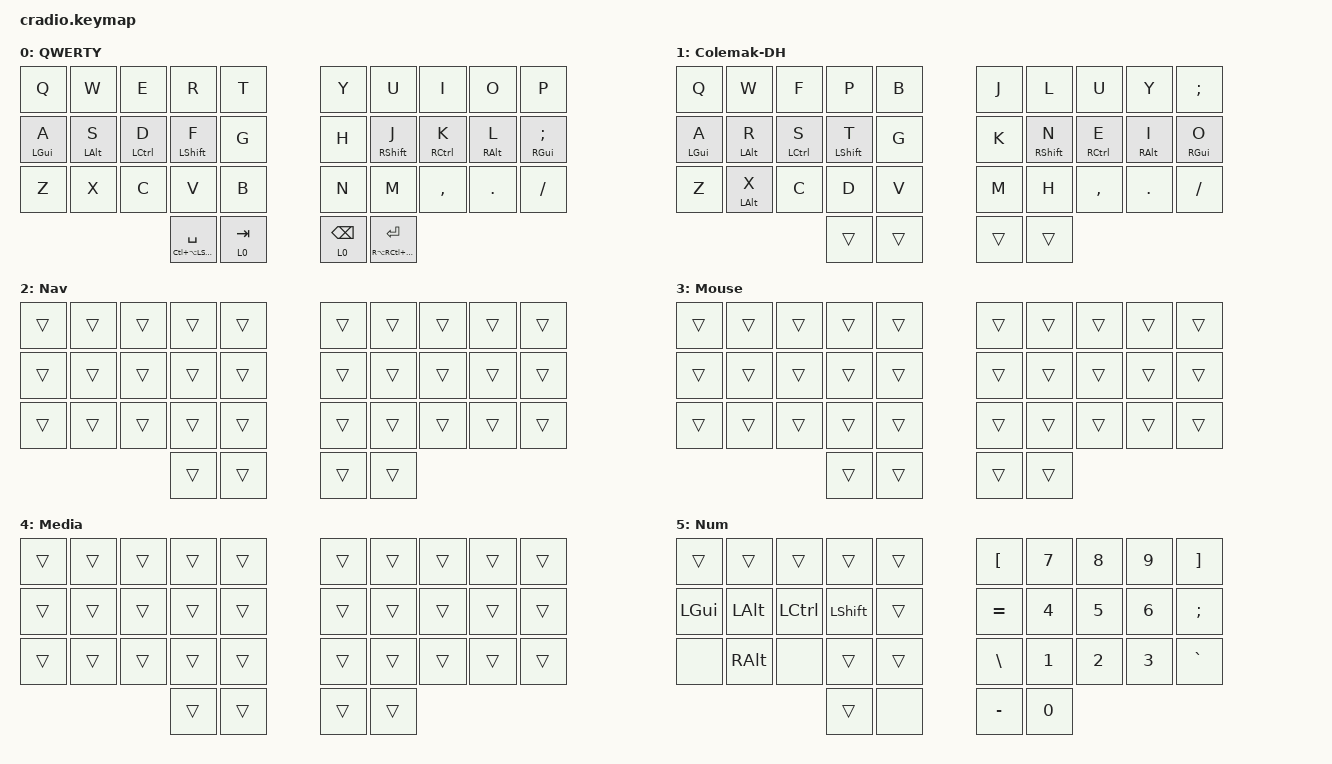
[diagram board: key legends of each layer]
// Copyright (c) 2022 The ZMK Contributors
// SPDX-License-Identifier: MIT

#include <behaviors.dtsi>
#include <dt-bindings/zmk/bt.h>
#include <behaviors/mouse_key_press.dtsi>
#include <dt-bindings/zmk/mouse.h>
#include <dt-bindings/zmk/ext_power.h>
#include <dt-bindings/zmk/keys.h>

&mt {
    flavor = "tap-preferred";
    tapping_term_ms = <250>;
};

/ {
    behaviors {
        ht: hold_tap {
            compatible = "zmk,behavior-hold-tap";
            #binding-cells = <2>;
            flavor = "tap-preferred";
            tapping-term-ms = <220>;
            quick-tap-ms = <150>;
            require-prior-idle-ms = <100>;
            bindings = <&kp>, <&kp>;
        };
    };

    macros {
        PS: PS {
            compatible = "zmk,behavior-macro";
            #binding-cells = <0>;
            bindings = <&kp N2 &kp N5 &kp N0 &kp N1 &kp N2 &kp N5 &kp LS(E) &kp S &kp T &kp E &kp B &kp A &kp N &kp AT>;
            label = "PS";
        };
    };

    combos {
        compatible = "zmk,combos";

        tab {
            bindings = <&lt 2 TAB>;
            key-positions = <30 31>;
        };

        delete {
            bindings = <&lt 2 DELETE>;
            key-positions = <32 33>;
        };

        dot {
            bindings = <&kp DOT>;
            key-positions = <32 33>;
            layers = <5>;
        };
    };

    keymap {
        compatible = "zmk,keymap";

        QWERTY {
            bindings = <
&kp Q           &kp W       &kp E        &kp R                         &kp T      &kp Y            &kp U                              &kp I        &kp O       &kp P
&mt LEFT_GUI A  &mt LALT S  &mt LCTRL D  &mt LSHIFT F                  &kp G      &kp H            &mt RSHFT J                        &mt RCTRL K  &mt RALT L  &mt RGUI SEMI
&kp Z           &kp X       &kp C        &kp V                         &kp B      &kp N            &kp M                              &kp COMMA    &kp DOT     &kp FSLH
                                         &mt LC(LA(LEFT_SHIFT)) SPACE  &lt 0 TAB  &lt 0 BACKSPACE  &mt RA(RC(RG(RIGHT_SHIFT))) ENTER
            >;
        };

        Colemak-DH {
            bindings = <
&kp Q           &kp W           &kp F        &kp P         &kp B   &kp J   &kp L        &kp U        &kp Y       &kp SEMI
&mt LEFT_GUI A  &mt LALT R      &mt LCTRL S  &mt LSHIFT T  &kp G   &kp K   &mt RSHFT N  &mt RCTRL E  &mt RALT I  &mt RGUI O
&kp Z           &mt LEFT_ALT X  &kp C        &kp D         &kp V   &kp M   &kp H        &kp COMMA    &kp DOT     &kp FSLH
                                             &trans        &trans  &trans  &trans
            >;
        };

        Nav {
            bindings = <
&trans  &trans  &trans  &trans  &trans  &trans  &trans  &trans  &trans  &trans
&trans  &trans  &trans  &trans  &trans  &trans  &trans  &trans  &trans  &trans
&trans  &trans  &trans  &trans  &trans  &trans  &trans  &trans  &trans  &trans
                        &trans  &trans  &trans  &trans
            >;
        };

        Mouse {
            bindings = <
&trans  &trans  &trans  &trans  &trans  &trans  &trans  &trans  &trans  &trans
&trans  &trans  &trans  &trans  &trans  &trans  &trans  &trans  &trans  &trans
&trans  &trans  &trans  &trans  &trans  &trans  &trans  &trans  &trans  &trans
                        &trans  &trans  &trans  &trans
            >;
        };

        Media {
            bindings = <
&trans  &trans  &trans  &trans  &trans  &trans  &trans  &trans  &trans  &trans
&trans  &trans  &trans  &trans  &trans  &trans  &trans  &trans  &trans  &trans
&trans  &trans  &trans  &trans  &trans  &trans  &trans  &trans  &trans  &trans
                        &trans  &trans  &trans  &trans
            >;
        };

        Num {
            bindings = <
&trans    &trans    &trans     &trans     &trans  &kp LBKT   &kp N7  &kp N8  &kp N9  &kp RBKT
&kp LGUI  &kp LALT  &kp LCTRL  &kp LSHFT  &trans  &kp EQUAL  &kp N4  &kp N5  &kp N6  &kp SEMI
&none     &kp RALT  &none      &trans     &trans  &kp BSLH   &kp N1  &kp N2  &kp N3  &kp GRAVE
                               &trans     &none   &kp MINUS  &kp N0
            >;
        };
    };

    conditional_layers { compatible = "zmk,conditional-layers"; };
};
